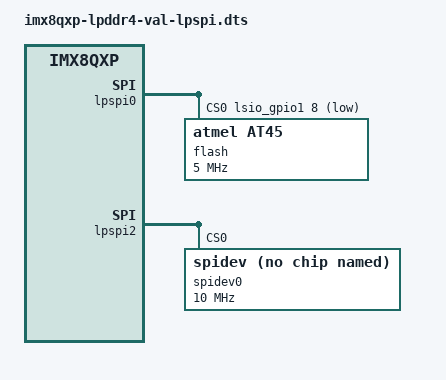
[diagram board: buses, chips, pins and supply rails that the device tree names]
// SPDX-License-Identifier: GPL-2.0+
/*
 * Copyright 2017~2019 NXP
 */

#include "imx8qxp-lpddr4-val.dts"

&iomuxc {
	pinctrl_lpspi0: lpspi0grp {
		fsl,pins = <
			IMX8QXP_SPI0_SCK_ADMA_SPI0_SCK		0x6000040
			IMX8QXP_SPI0_SDO_ADMA_SPI0_SDO		0x6000040
			IMX8QXP_SPI0_SDI_ADMA_SPI0_SDI		0x6000040
		>;
	};

	pinctrl_lpspi0_cs: lpspi0cs {
		fsl,pins = <
			IMX8QXP_SPI0_CS0_LSIO_GPIO1_IO08	0x21
		>;
	};

	pinctrl_lpspi2: lpspi2grp {
		fsl,pins = <
			IMX8QXP_SPI2_SCK_ADMA_SPI2_SCK		0x6000040
			IMX8QXP_SPI2_SDO_ADMA_SPI2_SDO		0x6000040
			IMX8QXP_SPI2_SDI_ADMA_SPI2_SDI		0x6000040
			IMX8QXP_SPI2_CS0_ADMA_SPI2_CS0		0x6000040
		>;
	};
};

&lpspi0 {
	fsl,spi-num-chipselects = <1>;
	pinctrl-names = "default";
	pinctrl-0 = <&pinctrl_lpspi0 &pinctrl_lpspi0_cs>;
	cs-gpios = <&lsio_gpio1 8 GPIO_ACTIVE_LOW>;
	status = "okay";

	flash: at45db041e@0 {
		#address-cells = <1>;
		#size-cells = <1>;
		compatible = "atmel,at45", "atmel,dataflash";
		spi-max-frequency = <5000000>;
		reg = <0>;
	};
};

&lpspi2 {
	fsl,spi-num-chipselects = <1>;
	pinctrl-names = "default";
	pinctrl-0 = <&pinctrl_lpspi2>;
	status = "okay";

	spidev0: spi@0 {
		reg = <0>;
		compatible = "rohm,dh2228fv";
		spi-max-frequency = <10000000>;
	};
};
